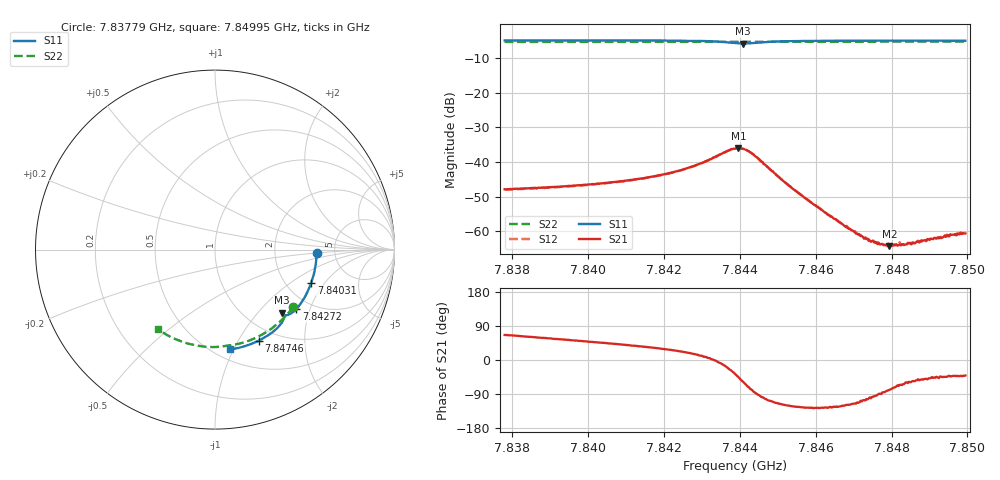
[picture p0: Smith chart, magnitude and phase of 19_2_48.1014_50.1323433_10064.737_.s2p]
#  HZ  S  RI  R  50.00
! Rohde & Schwarz Vector Network Analyzer
! Rohde-Schwarz,ZNB20-2Port,1311601062101988,3.16
! Created: UTC 12/23/2023, 3:36:28 AM
! freq[Hz]  re:S11  im:S11  re:S21  im:S21  re:S12  im:S12  re:S22  im:S22
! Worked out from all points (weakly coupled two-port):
!   401 points, 7.83779 GHz to 7.84995 GHz, reference 50 ohm
!   highest |S21| = -35.97 dB at 7.84396 GHz (marker M1); lowest = -64.2 dB at 7.84794 GHz (marker M2)
!   lowest |S11| = -5.8 dB at 7.84408 GHz (marker M3), VSWR 3.10, Z = 71.2 - j67.9 ohm
!   |S11| at or under -10 dB: nowhere
!   |S22| runs from -5.4 to -5.3 dB; largest |S21 - S12| = 0.00032
!   S11 on the Smith chart (normalised r, x): 7.83779 GHz: 3.61, -0.19; 7.84031 GHz: 2.73, -1.48; 7.84272 GHz: 1.68, -1.62; 7.84746 GHz: 0.82, -1.22; 7.84995 GHz: 0.59, -0.97
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7.837792e9  0.5665 -0.0179  0.00164 0.00371  0.00165 0.00364  0.437 -0.3172
7.839829e9  0.5463 -0.1522  0.00299 0.00358  0.00297 0.00354  0.3394 -0.4209
7.840315e9  0.5366 -0.1836  0.00341 0.00355  0.00337 0.00352  0.3122 -0.4417
7.841105e9  0.5162 -0.2335  0.00432 0.00342  0.00422 0.00341  0.2657 -0.4716
7.841865e9  0.4912 -0.2802  0.00552 0.00329  0.00552 0.00328  0.2179 -0.4957
7.842716e9  0.4537 -0.3304  0.00811 0.00256  0.00809 0.00256  0.1618 -0.5167
7.843445e9  0.4053 -0.3642  0.0126 -0.00141  0.0125 -0.00132  0.1119 -0.5287
7.84387e9  0.3742 -0.3601  0.0125 -0.00934  0.0126 -0.00927  0.0836 -0.5325
7.843962e9  0.3714 -0.3564  0.0112 -0.0113  0.0113 -0.0114  0.0778 -0.5332
7.844083e9  0.3721 -0.3517  0.00844 -0.013  0.00825 -0.0132  0.0702 -0.5343
7.844235e9  0.3773 -0.3508  0.00453 -0.0137  0.00427 -0.0136  0.0608 -0.536
7.844387e9  0.3829 -0.3563  0.00102 -0.0123  0.0012 -0.0124  0.0507 -0.5378
7.845268e9  0.3653 -0.4164  -0.00235 -0.00404  -0.00237 -0.00411  -0.011 -0.5429
7.845907e9  0.3327 -0.4498  -0.00149 -0.00207  -0.00153 -0.00208  -0.0559 -0.5409
7.846727e9  0.2864 -0.4836  -0.00064 -0.00106  -0.000674 -0.00105  -0.113 -0.5324
7.847153e9  0.2612 -0.4983  -0.000333 -0.000841  -0.000296 -0.000838  -0.1423 -0.5256
7.847456e9  0.2428 -0.5078  -0.000134 -0.000696  -0.000113 -0.000735  -0.1628 -0.5198
7.847821e9  0.2204 -0.5181  5.77e-05 -0.000639  9.23e-05 -0.000629  -0.1872 -0.5118
7.847943e9  0.2128 -0.5214  0.000121 -0.000607  0.000125 -0.000638  -0.1952 -0.509
7.848338e9  0.1881 -0.5308  0.000289 -0.000567  0.000306 -0.000588  -0.2209 -0.4985
7.849614e9  0.1058 -0.5528  0.000666 -0.000601  0.000674 -0.000562  -0.2997 -0.4564
7.849948e9  0.0838 -0.5564  0.000708 -0.000613  0.000745 -0.000624  -0.3192 -0.4432
